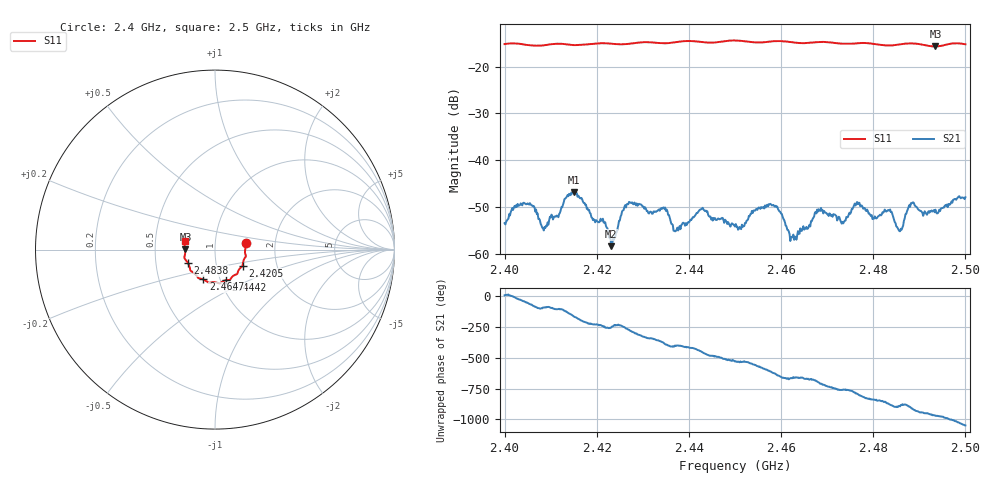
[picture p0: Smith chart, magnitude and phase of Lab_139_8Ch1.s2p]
# Hz S RI R 50
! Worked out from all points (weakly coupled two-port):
!   601 points, 2.4 GHz to 2.5 GHz, reference 50 ohm
!   highest |S21| = -46.86 dB at 2.415 GHz (marker M1); lowest = -58.4 dB at 2.4232 GHz (marker M2)
!   lowest |S11| = -15.7 dB at 2.4935 GHz (marker M3), VSWR 1.39, Z = 35.9 + j0.114 ohm
!   |S11| at or under -10 dB: start of sweep to end of sweep
!   S12 and S22 are empty: the file has one direction only
!   S11 on the Smith chart (normalised r, x): 2.4 GHz: 1.40, +0.11; 2.4205 GHz: 1.34, -0.25; 2.4442 GHz: 1.06, -0.37; 2.4647 GHz: 0.83, -0.29; 2.4838 GHz: 0.73, -0.11; 2.5 GHz: 0.71, +0.07
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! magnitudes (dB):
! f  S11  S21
! 2.4 GHz  -15.2  -53.5
! 2.4045 GHz  -15.3  -49.3
! 2.4087 GHz  -15.4  -54.3
! 2.415 GHz  -15.4  -46.9
! 2.4167 GHz  -15.3  -48.1
! 2.4205 GHz  -15.0  -53.3
! 2.4232 GHz  -15.1  -58.4
! 2.427 GHz  -15.1  -48.9
! 2.4333 GHz  -14.9  -50.7
! 2.4372 GHz  -14.8  -55.1
! 2.4442 GHz  -14.9  -51.6
! 2.45 GHz  -14.4  -54.2
! 2.4578 GHz  -14.6  -49.4
! 2.4623 GHz  -14.8  -56.4
! 2.4647 GHz  -15.0  -54.6
! 2.4667 GHz  -14.9  -53.1
! 2.4833 GHz  -15.5  -50.7
! 2.4838 GHz  -15.5  -51.1
! 2.4858 GHz  -15.2  -55.2
! 2.4883 GHz  -15.0  -49.2
! 2.4935 GHz  -15.7  -50.6
! 2.5 GHz  -15.2  -47.9
